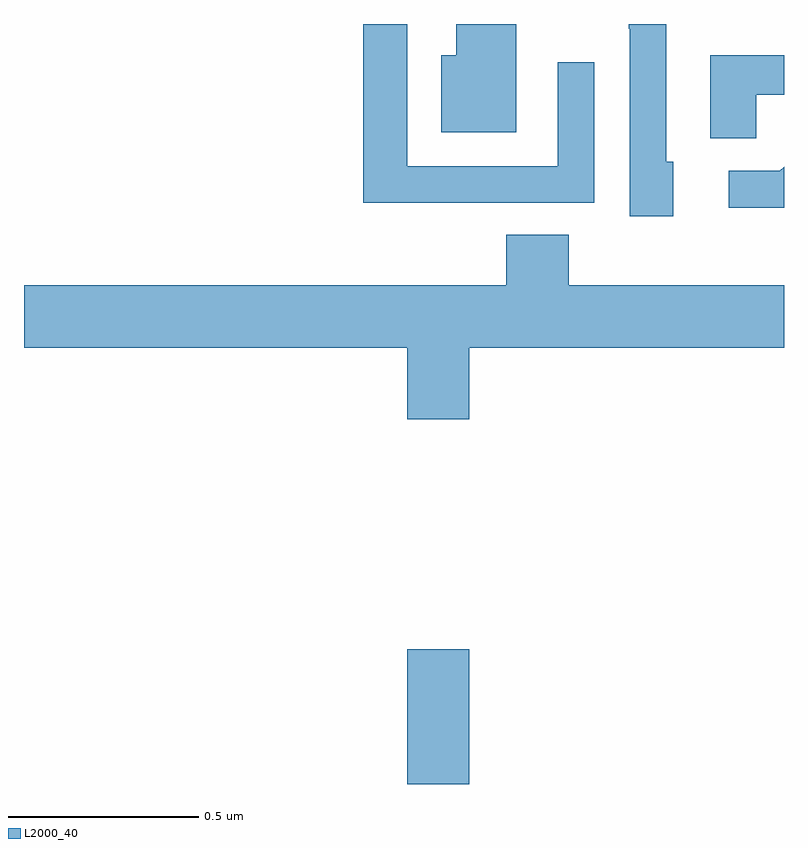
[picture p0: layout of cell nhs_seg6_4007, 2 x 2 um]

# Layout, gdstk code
import gdstk
lib = gdstk.Library(unit=1e-6, precision=1e-09)
def R(c, l, rs):  # rectangles x0, y0, x1, y1
    for r in rs: c.add(gdstk.rectangle(r[:2], r[2:], *l))
def P(c, l, *ps):  # polygons
    for p in ps: c.add(gdstk.Polygon(p, *l))
L2000_40 = (2000, 40)

nhs_seg6_4007 = lib.new_cell('nhs_seg6_4007')
R(nhs_seg6_4007, L2000_40, [(165.008,967.5,165.172,967.855)])
P(nhs_seg6_4007, L2000_40, [(165.295,969.5),(165.137,969.5),(165.137,969.418),(165.098,969.418),(165.098,969.215),(165.295,969.215)],
  [(165.709,969.138),(165.69,969.138),(165.69,969.5),(165.592,969.5),(165.592,969.487),(165.594,969.487),(165.594,968.994),(165.709,968.994)],
  [(165.185,969.03),(165.501,969.03),(165.501,969.4),(165.405,969.4),(165.405,969.126),(165.009,969.126),(165.009,969.5),(164.893,969.5),(164.893,969.029),(165.185,969.029)],
  [(165.927,969.314),(166,969.314),(166,969.418),(165.806,969.418),(165.806,969.199),(165.927,969.199)],
  [(166,969.125),(165.989,969.114),(165.855,969.114),(165.855,969.017),(166,969.017)],
  [(165.172,968.648),(166,968.648),(166,968.812),(165.434,968.812),(165.434,968.945),(165.269,968.945),(165.269,968.812),(164,968.812),(164,968.648),(165.008,968.648),(165.008,968.46),(165.172,968.46)])

lib.write_gds('nhs_seg6_4007.gds')
